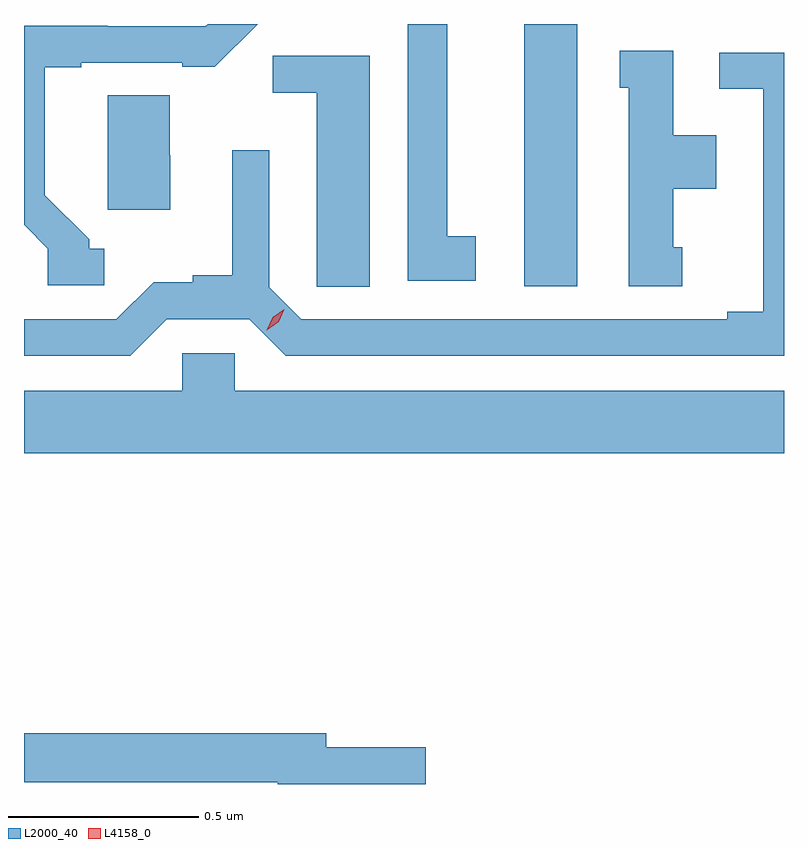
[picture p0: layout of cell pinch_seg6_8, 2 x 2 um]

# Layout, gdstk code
import gdstk
lib = gdstk.Library(unit=1e-6, precision=1e-09)
def R(c, l, rs):  # rectangles x0, y0, x1, y1
    for r in rs: c.add(gdstk.rectangle(r[:2], r[2:], *l))
def P(c, l, *ps):  # polygons
    for p in ps: c.add(gdstk.Polygon(p, *l))
L2000_40 = (2000, 40)
L4158_0 = (4158, 0)

pinch_seg6_8 = lib.new_cell('pinch_seg6_8')
R(pinch_seg6_8, L2000_40, [(1104.164,969.087,1104.304,969.777)])
P(pinch_seg6_8, L2000_40, [(1103.059,969.186),(1103.02,969.186),(1103.02,969.21),(1102.903,969.326),(1102.903,969.663),(1102.999,969.663),(1102.999,969.675),(1103.264,969.675),(1103.264,969.664),(1103.35,969.664),(1103.463,969.777),(1103.331,969.777),(1103.325,969.771),(1103.069,969.771),(1103.069,969.773),(1102.848,969.773),(1102.848,969.249),(1102.911,969.186),(1102.911,969.09),(1103.059,969.09)],
  [(1104.037,969.218),(1103.962,969.218),(1103.962,969.777),(1103.858,969.777),(1103.858,969.102),(1104.037,969.102)],
  [(1104.58,969.189),(1104.556,969.189),(1104.556,969.344),(1104.67,969.344),(1104.67,969.484),(1104.556,969.484),(1104.556,969.707),(1104.416,969.707),(1104.416,969.609),(1104.44,969.609),(1104.44,969.087),(1104.58,969.087)],
  [(1103.223,969),(1103.441,969),(1103.537,968.904),(1104.848,968.904),(1104.848,969.702),(1104.678,969.702),(1104.678,969.606),(1104.794,969.606),(1104.794,969.02),(1104.698,969.02),(1104.698,969),(1103.577,969),(1103.493,969.084),(1103.493,969.445),(1103.396,969.445),(1103.396,969.116),(1103.292,969.116),(1103.292,969.098),(1103.189,969.098),(1103.091,969),(1102.848,969),(1102.848,968.904),(1103.127,968.904)],
  [(1103.758,969.693),(1103.502,969.693),(1103.502,969.596),(1103.618,969.596),(1103.618,969.193),(1103.619,969.193),(1103.619,969.085),(1103.758,969.085)],
  [(1103.233,969.432),(1103.232,969.432),(1103.232,969.59),(1103.069,969.59),(1103.069,969.288),(1103.233,969.288)],
  [(1104.848,968.812),(1103.403,968.812),(1103.403,968.91),(1103.265,968.91),(1103.265,968.812),(1102.848,968.812),(1102.848,968.648),(1104.848,968.648)],
  [(1103.905,967.874),(1103.644,967.874),(1103.644,967.91),(1102.848,967.91),(1102.848,967.782),(1103.516,967.782),(1103.516,967.777),(1103.905,967.777)])
P(pinch_seg6_8, L4158_0, [(1103.487,968.971),(1103.487,968.971),(1103.502,969.005),(1103.533,969.027),(1103.533,969.027),(1103.533,969.026),(1103.518,968.993),(1103.487,968.971)])

lib.write_gds('pinch_seg6_8.gds')
